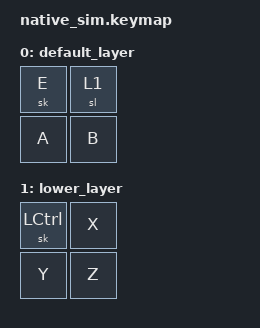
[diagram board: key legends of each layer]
#include <dt-bindings/zmk/keys.h>
#include <behaviors.dtsi>
#include <dt-bindings/zmk/input_mock.h>

/ {
    keymap {
        compatible = "zmk,keymap";

        default_layer {
            bindings = <
                &sk E &sl 1
                &kp A &kp B>;
        };

        lower_layer {
            bindings = <
                &sk LEFT_CONTROL &kp X
                &kp Y  &kp Z>;
        };
    };
};

&mock_input {
    events = <
        /* tap sl lower_layer */
        ZMK_INPUT_MOCK_PRESS(0,1,10)
        ZMK_INPUT_MOCK_RELEASE(0,1,10)
        /* tap sk LEFT_CONTROL */
        ZMK_INPUT_MOCK_PRESS(0,0,10)
        ZMK_INPUT_MOCK_RELEASE(0,0,10)
        /* tap A */
        ZMK_INPUT_MOCK_PRESS(1,0,10)
        ZMK_INPUT_MOCK_RELEASE(1,0,10)

        /* repeat */
        /* tap sl */
        ZMK_INPUT_MOCK_PRESS(0,1,10)
        ZMK_INPUT_MOCK_RELEASE(0,1,10)
        /* tap sk */
        ZMK_INPUT_MOCK_PRESS(0,0,10)
        ZMK_INPUT_MOCK_RELEASE(0,0,10)
        /* tap A */
        ZMK_INPUT_MOCK_PRESS(1,0,10)
        ZMK_INPUT_MOCK_RELEASE(1,0,10)
    >;
};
